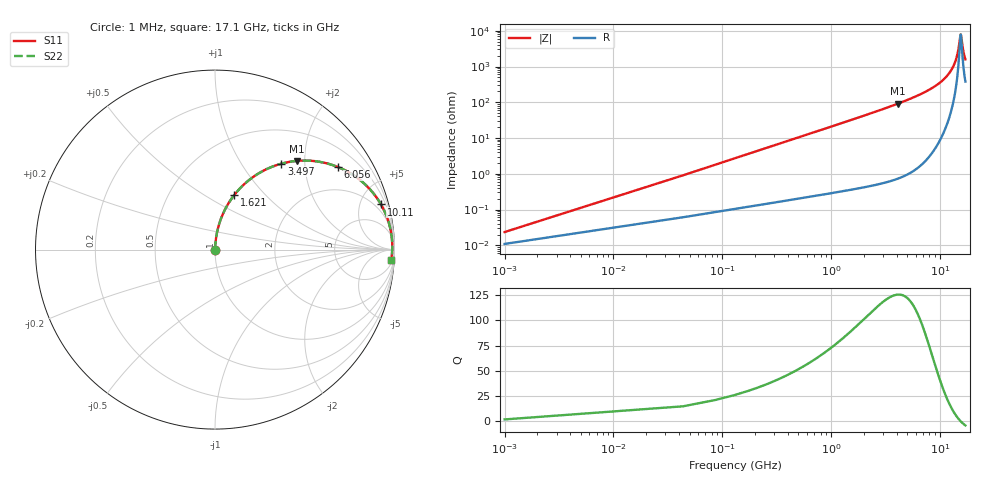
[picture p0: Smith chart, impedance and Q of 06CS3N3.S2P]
! Coilcraft 0603CS-3N3 Chip Inductor
! 1 August 2002
# MHZ S MA R 50
!Freq  MagS11  AngS11  MagS21  AngS21  MagS12  AngS12  MagS22  AngS22
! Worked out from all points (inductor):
!   403 points, 1 MHz to 17.1 GHz, reference 50 ohm
!   read as one part in series: L = 3.3 nH near 86.28 MHz
!   highest Q = 125 at 4.094 GHz (marker M1), where L = 3.55 nH
!   self-resonance near 15.48 GHz
!   S11 on the Smith chart (normalised r, x): 1 MHz: 1.00, +0.00; 1.621 GHz: 1.01, +0.68; 3.497 GHz: 1.01, +1.53; 6.056 GHz: 1.03, +2.96; 10.11 GHz: 1.19, +7.29; 17.1 GHz: 9, -31
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1  0.0002342 62.3  0.9999 -0.0  0.9999 -0.0  0.0002342 62.3
128.92  0.02672 86.3  0.9986 -1.5  0.9986 -1.5  0.02672 86.3
214.2  0.04434 85.8  0.9977 -2.5  0.9977 -2.5  0.04434 85.8
299.48  0.06192 85.0  0.9965 -3.5  0.9965 -3.5  0.06192 85.0
512.68  0.1056 82.8  0.9924 -6.1  0.9924 -6.1  0.1056 82.8
768.52  0.1574 80.0  0.9851 -9.1  0.9851 -9.1  0.1574 80.0
1621.32  0.3208 70.7  0.9437 -18.7  0.9437 -18.7  0.3208 70.7
2857.88  0.5209 58.1  0.8491 -31.4  0.8491 -31.4  0.5209 58.1
3497.48  0.6048 52.3  0.7915 -37.2  0.7915 -37.2  0.6048 52.3
4094.44  0.6715 47.4  0.7357 -42.2  0.7357 -42.2  0.6715 47.4
5714.76  0.8047 35.9  0.5867 -53.6  0.5867 -53.6  0.8047 35.9
6055.88  0.8255 33.8  0.5569 -55.6  0.5569 -55.6  0.8255 33.8
8571.64  0.9266 21.2  0.3618 -67.9  0.3618 -67.9  0.9266 21.2
10106.68  0.9582 15.2  0.2627 -73.3  0.2627 -73.3  0.9582 15.2
11428.52  0.9744 10.8  0.1876 -76.8  0.1876 -76.8  0.9744 10.8
13134.12  0.9852 5.8  0.1023 -78.8  0.1023 -78.8  0.9852 5.8
14285.4  0.9878 2.9  0.05129 -74.8  0.05129 -74.8  0.9878 2.9
14711.8  0.988 1.8  0.03401 -68.4  0.03401 -68.4  0.988 1.8
15479.32  0.9875 0.0  0.01255 -3.4  0.01255 -3.4  0.9875 0.0
15649.88  0.9872 -0.3  0.01408 24.7  0.01408 24.7  0.9872 -0.3
16374.76  0.9857 -1.9  0.03641 65.8  0.03641 65.8  0.9857 -1.9
17100  0.9834 -3.4  0.06198 72.7  0.06198 72.7  0.9834 -3.4
